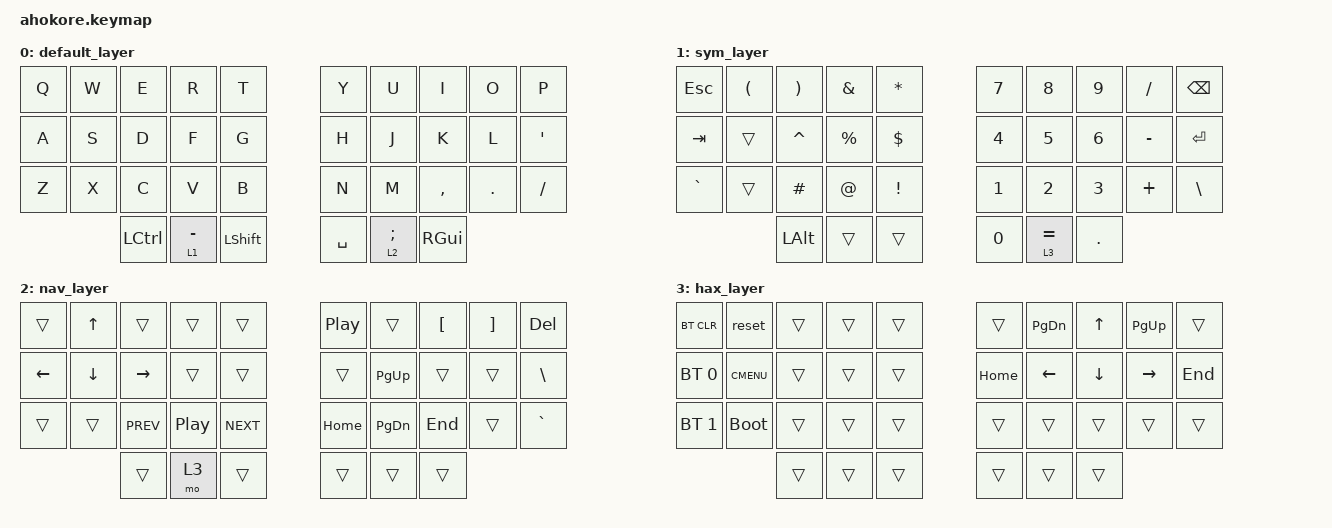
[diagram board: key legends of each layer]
/*
 * Copyright (c) 2020 The ZMK Contributors
 *
 * SPDX-License-Identifier: MIT
 */

#include <behaviors.dtsi>
#include <dt-bindings/zmk/keys.h>
#include <dt-bindings/zmk/bt.h>

/ {

behaviors {
      hm: homerow_mods {
        compatible = "zmk,behavior-hold-tap";
        label = "HOMEROW_MODS";
        #binding-cells = <2>;
        tapping_term_ms = <300>;
        flavor = "tap-preferred";
        bindings = <&kp>, <&kp>;
    };

    combos {
    compatible = "zmk,combos";
    combo_del {
        timeout-ms = <50>;
        key-positions = <18 19>;
        bindings = <&kp DEL>;
        layers = <1>;
    };
    combo_bspc {
        timeout-ms = <50>;
        key-positions = <8 9>;
        bindings = <&kp BKSP>;
        layers = <0 1>;
    };
    combo_tab {
        timeout-ms = <50>;
        key-positions = <0 1>;
        bindings = <&kp TAB>;
        layers = <0>;

    };
    combo_esc {
        timeout-ms = <50>;
        key-positions = <1 2>;
        bindings = <&kp ESC>;
        layers = <0>;

    };
};

};
        keymap {
                compatible = "zmk,keymap";

                default_layer {
// -----------------------------------------------------------------------------------------
// |  Q  |  W  |  E  |  R  |  T   |  Y  |  U   |  I  |  O  |  P  |
// |  A  |  S  |  D  |  F  |  G   |  H  |  J   |  K  |  L  |  '  |
// |  Z  |  X  |  C  |  V  |  B   |  N  |  M   |  ,  |  .  |  /  |
//             | CTL | ALT |  ENT | SPC | GUI  | CTL |
                        bindings = <
   &kp Q &kp W &kp E &kp R &kp T     &kp Y &kp U  &kp I  &kp O  &kp P
   &kp A &kp S &kp D &kp F &kp G     &kp H &kp J  &kp K  &kp L  &kp APOS
   &kp Z &kp X &kp C &kp V &kp B     &kp N &kp M  &kp COMMA &kp DOT &kp FSLH
   &kp LCTRL &lt 1 MINUS &kp LSHFT   &kp SPC &lt 2 SEMI &kp RGUI
                        >;
                };

                sym_layer {
// -----------------------------------------------------------------------------------------
// |  1  |  2  |  3  |  4  |  5  |  6  |  7  |  8  |  9  |  0  |
// |  !  |  @  |  #  |  $  |  %  |  ^  |  &  |  *  |  =  |  -  |
// |  \  |  {  |  [  |  (  |  _  |  )  |  ]  |  }  |  .  |  `  |
//             | CTL | ALT |  ENT | SPC | GUI  | CTL |
                        bindings = <
   &kp ESC   &kp LPAR &kp RPAR  &kp AMPS  &kp STAR     &kp N7 &kp N8 &kp N9 &kp FSLH  &kp BSPC
   &kp TAB   &trans   &kp CARET &kp PRCNT &kp DLLR     &kp N4 &kp N5 &kp N6 &kp MINUS &kp RET
   &kp GRAVE &trans   &kp HASH  &kp AT    &kp EXCL     &kp N1 &kp N2 &kp N3 &kp PLUS  &kp BSLH
                      &kp LALT  &trans    &trans       &kp N0 &lt 3 EQUAL &kp DOT
                        >;
                };
                
                nav_layer {
// -----------------------------------------------------------------------------------------
// |  1  |  2  |  3  |  4  |  5  |  6  |  7  |  8  |  9  |  0  |
// |  !  |  @  |  #  |  $  |  %  |  ^  |  &  |  *  |  =  |  -  |
// |  \  |  {  |  [  |  (  |  _  |  )  |  ]  |  }  |  .  |  `  |
//             | CTL | ALT |  ENT | SPC | GUI  | CTL |
                        bindings = <
   &trans &kp UP &trans &trans &trans           &kp C_PP &trans &kp LBKT &kp RBKT &kp DEL
   &kp LEFT &kp DOWN &kp RIGHT &trans &trans    &trans &kp PG_UP &trans &trans &kp BSLH
   &trans &trans &kp C_PREV &kp C_PP &kp C_NEXT   &kp HOME &kp PG_DN &kp END &trans &kp GRAVE
                 &trans &mo 3  &trans           &trans &trans &trans
                        >;
                };

                hax_layer {
// -----------------------------------------------------------------------------------------
// |BTCLR| RST |     |      |     |      | PGDN |  UP  | PGUP |      |
// | BT0 |CMENU|     |      |     | HOME | LEFT | DOWN |RIGHT | END  |
// | BT1 | BOOT|     |      |     |      |      |      |      |      |
//             | CTL | ALT |  ENT | SPC | GUI  | CTL |
                        bindings = <
   &bt BT_CLR   &reset      &trans  &trans &trans     &trans    &kp PG_DN &kp UP    &kp PG_UP &trans
   &bt BT_SEL 0 &kp K_CMENU &trans  &trans &trans     &kp HOME  &kp LEFT  &kp DOWN  &kp RIGHT &kp END
   &bt BT_SEL 1 &bootloader &trans  &trans &trans     &trans    &trans    &trans    &trans    &trans
   &trans   &trans    &trans     &trans   &trans   &trans
                        >;
                };


        };
};
